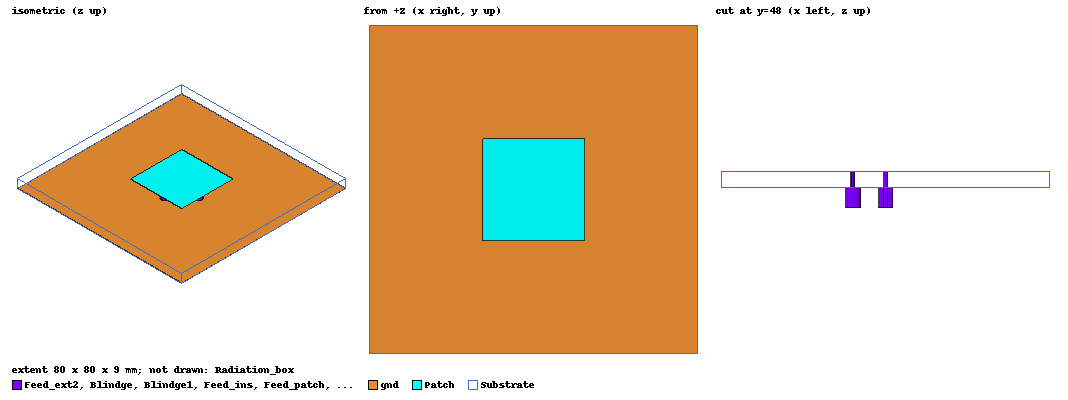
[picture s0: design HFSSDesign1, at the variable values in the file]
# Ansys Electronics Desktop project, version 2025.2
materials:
  vacuum: permittivity=1
  air: permittivity=1.0006 permeability=1.0000004
  perfect conductor: conductivity=1e+30
  copper: permeability=0.999991 conductivity=58000000
  FR4_epoxy: permittivity=4.4 dielectric_loss_tangent=0.02
  pec: conductivity=1e+30
  Teflon (tm): permittivity=2.1 dielectric_loss_tangent=0.001

design HFSSDesign1 (HFSS, HFSS Modal Network, model units mm)
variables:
  gnl = 80mm
  gnw = 80mm
  h = 4mm
  pl = 25mm
  pw = 25mm
  a = Patch_pos_x+pw/2
  r1 = 1.8mm
  r2 = 1.67mm
  r3 = 0.5mm
  dummy = a +offset
  offset = 8mm
  Patch_pos_x = gnw/2 - pw/2
  Patch_pos_y = gnl/2 - pl/2
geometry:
  gnd = rectangle(corner=(0mm, 0mm, 0mm), x_size=gnl, y_size=gnw)
  Substrate [air] = box(corner=(0mm, 0mm, 0mm), size=(gnl, gnw, h))
  Patch = rectangle(corner=(Patch_pos_x, Patch_pos_y, h), x_size=pl, y_size=pw)
  Gnd_cut = circle(normal=Z, centre=(a, dummy, 0mm), radius=r1)
  Blindge [Teflon (tm)] = cylinder(axis=Z, base_centre=(a, dummy, 0mm), radius=r2, height=-5mm)
  Feed_ext1 [pec] = cylinder(axis=Z, base_centre=(a, dummy, 0mm), radius=r1, height=-5mm)
  Feed_ins [pec] = cylinder(axis=Z, base_centre=(a, dummy, 0mm), radius=r3, height=-5mm)
  Feed_patch [pec] = cylinder(axis=Z, base_centre=(a, dummy, 0mm), radius=r3, height=h)
  gnd.subtract(Gnd_cut)
  port = circle(normal=Z, centre=(a, dummy, -5mm), radius=r1)
  Radiation_box [vacuum] = box(corner=(-20mm, -20mm, -20mm), size=(120mm, 120mm, 60mm))
  Blindge1 [Teflon (tm)] = cylinder(axis=Z, base_centre=(dummy, a, 0mm), radius=r2, height=-5mm)
  Feed_ext2 [pec] = cylinder(axis=Z, base_centre=(dummy, a, 0mm), radius=r1, height=-5mm)
  Feed_ins1 [pec] = cylinder(axis=Z, base_centre=(dummy, a, 0mm), radius=r3, height=-5mm)
  Feed_patch1 [pec] = cylinder(axis=Z, base_centre=(dummy, a, 0mm), radius=r3, height=h)
  port1 = circle(normal=Z, centre=(dummy, a, -5mm), radius=r1)
  Gnd_cut1 = circle(normal=Z, centre=(dummy, a, 0mm), radius=r1)
  gnd.subtract(Gnd_cut1)
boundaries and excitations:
  PerfE1: Perfect E Objects=gnd
  patch: Perfect E Objects=Patch
  Rad1: Radiation Objects=Radiation_box
  1: Lumped Port Objects=port LumpedPortType=Modal Modes{Mode1{IntLine{(40, 48, -5) -> (40000mm, 49670mm, -5000mm)} CharImp=Zpi}} Impedance=50ohm
  2: Lumped Port Objects=port1 LumpedPortType=Modal Modes{Mode1{IntLine{(48, 40, -5) -> (49.67, 40, -5)} CharImp=Zpi}} Impedance=50ohm
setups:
  Setup1: HfssDriven Frequency=5.3GHz MaxDeltaS=0.02 MaximumPasses=25 MinimumPasses=1 MinimumConvergedPasses=1 PercentRefinement=30 BasisOrder=1 PortAccuracy=2 DrivenSolverType="Direct Solver"
    sweep Sweep: 5.1GHz to 5.6GHz, 100 points; Type=Interpolating SaveFields InterpTolerance=0.5 InterpMaxSolns=250 InterpUsePortImped=false PassivityErrorTolerance=0.0001
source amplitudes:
  1:1: 1W 0deg
  2:1: 1W 90deg
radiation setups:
  Infinite Sphere1: Infinite Sphere Theta=-180deg..180deg step 5deg Phi=0deg..360deg step 5deg
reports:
  Active VSWR Plot1: mag(ActiveVSWR(1:1)) vs Freq on Setup1 : Sweep [offset=8mm]; markers m1 at 5.1GHz, m2 at 5.4131313GHz, m3 at 5.6GHz
  Gain Plot2: dBc(GainTotal) vs Freq on Setup1 : Sweep, Infinite Sphere1 [Phi=0deg Theta=0deg offset=8mm]; markers m1 at 5.1625GHz, m2 at 5.475GHz
  Boresight: dB(GainTotal) vs Theta on Setup1 : LastAdaptive, Infinite Sphere1 [Phi=0deg Freq=5.3GHz offset=8mm]; markers m1 at 0deg, m2 at 180deg
  Beamwidth_E: dB(GainTotal) vs Theta on Setup1 : LastAdaptive, Infinite Sphere1 [Phi=0deg Freq=5.3GHz offset=8mm]; markers m1 at 0deg, m2 at -20deg, m3 at 30deg
  Beamwidth_H: dB(GainTotal) vs Theta on Setup1 : LastAdaptive, Infinite Sphere1 [Phi=90deg Freq=5.3GHz offset=8mm]; markers m1 at 0deg, m3 at 25deg, m4 at -30deg
  Axial Ratio Plot1: dB(AxialRatioValue) vs Freq on Setup1 : Sweep, Infinite Sphere1 [Phi=0deg Theta=0deg offset=8mm]; markers m1 at 5.1625GHz, m2 at 5.3041702GHz, m3 at 5.475GHz
  Gain Plot3: dB(GainLHCP), dB(GainRHCP) vs Freq on Setup1 : Sweep, Infinite Sphere1 [Phi=0deg Theta=0deg offset=8mm]; markers m1 at 5.3002765GHz, m2 at 5.3001006GHz
  Boresight_5.1: dB(GainTotal) vs Theta on Setup1 : Sweep, Infinite Sphere1 [Phi=0deg Freq=5.1625GHz offset=8mm]; markers m1 at 0deg, m2 at 180deg, m4 at -20deg, m6 at 30deg
  Boresight5.5: dB(GainTotal) vs Theta on Setup1 : Sweep, Infinite Sphere1 [Phi=0deg Freq=5.475GHz offset=8mm]; markers m1 at 0deg, m2 at -180deg, m3 at -20deg, m5 at 30deg
